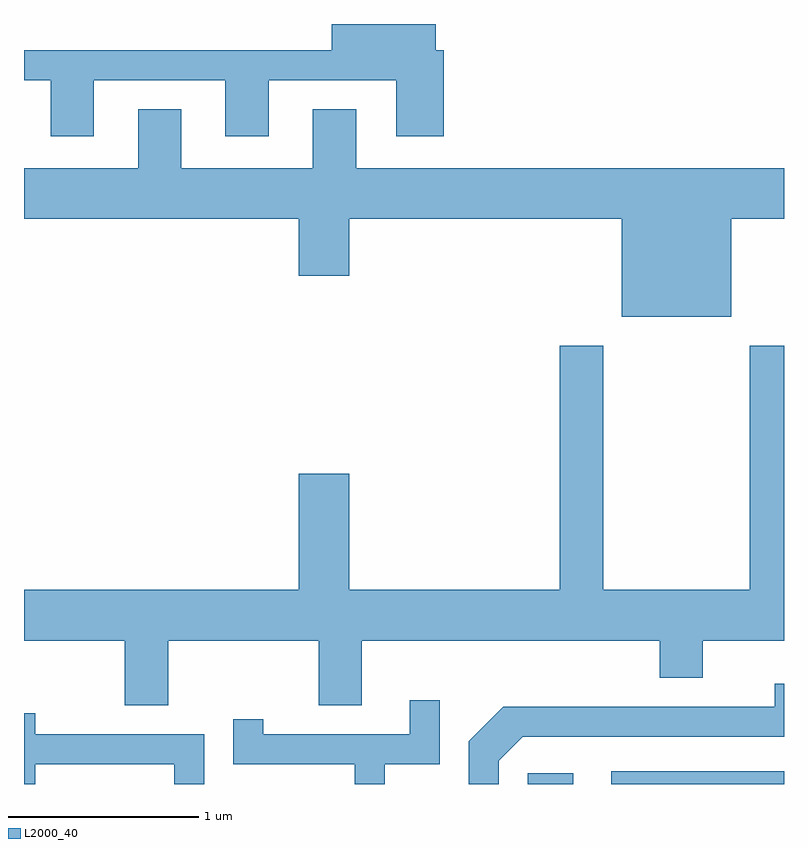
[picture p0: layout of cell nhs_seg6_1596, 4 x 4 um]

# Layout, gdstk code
import gdstk
lib = gdstk.Library(unit=1e-6, precision=1e-09)
def R(c, l, rs):  # rectangles x0, y0, x1, y1
    for r in rs: c.add(gdstk.rectangle(r[:2], r[2:], *l))
def P(c, l, *ps):  # polygons
    for p in ps: c.add(gdstk.Polygon(p, *l))
L2000_40 = (2000, 40)

nhs_seg6_1596 = lib.new_cell('nhs_seg6_1596')
R(nhs_seg6_1596, L2000_40, [(236.261,1558.162,236.503,1558.219), (236.703,1558.162,237.611,1558.229)])
P(nhs_seg6_1596, L2000_40, [(233.979,1561.866),(234.671,1561.866),(234.671,1561.571),(234.899,1561.571),(234.899,1561.866),(235.571,1561.866),(235.571,1561.571),(235.819,1561.571),(235.819,1562.024),(235.779,1562.024),(235.779,1562.162),(235.231,1562.162),(235.231,1562.024),(233.611,1562.024),(233.611,1561.866),(233.751,1561.866),(233.751,1561.571),(233.979,1561.571)],
  [(237.334,1561.136),(237.611,1561.136),(237.611,1561.404),(235.359,1561.404),(235.359,1561.714),(235.131,1561.714),(235.131,1561.404),(234.439,1561.404),(234.439,1561.714),(234.211,1561.714),(234.211,1561.404),(233.611,1561.404),(233.611,1561.136),(235.056,1561.136),(235.056,1560.836),(235.324,1560.836),(235.324,1561.136),(236.756,1561.136),(236.756,1560.621),(237.334,1560.621)],
  [(234.369,1558.916),(235.161,1558.916),(235.161,1558.576),(235.389,1558.576),(235.389,1558.916),(236.956,1558.916),(236.956,1558.721),(237.184,1558.721),(237.184,1558.916),(237.611,1558.916),(237.611,1560.469),(237.431,1560.469),(237.431,1559.184),(236.659,1559.184),(236.659,1560.469),(236.431,1560.469),(236.431,1559.184),(235.324,1559.184),(235.324,1559.794),(235.056,1559.794),(235.056,1559.184),(233.611,1559.184),(233.611,1558.916),(234.141,1558.916),(234.141,1558.576),(234.369,1558.576)],
  [(236.109,1558.284),(236.237,1558.411),(237.611,1558.411),(237.611,1558.689),(237.561,1558.689),(237.561,1558.569),(236.134,1558.569),(235.951,1558.387),(235.951,1558.162),(236.109,1558.162)],
  [(235.509,1558.266),(235.799,1558.266),(235.799,1558.603),(235.641,1558.603),(235.641,1558.424),(234.869,1558.424),(234.869,1558.503),(234.711,1558.503),(234.711,1558.266),(235.351,1558.266),(235.351,1558.162),(235.509,1558.162)],
  [(233.669,1558.266),(234.401,1558.266),(234.401,1558.162),(234.559,1558.162),(234.559,1558.424),(233.669,1558.424),(233.669,1558.534),(233.611,1558.534),(233.611,1558.162),(233.669,1558.162)])

lib.write_gds('nhs_seg6_1596.gds')
